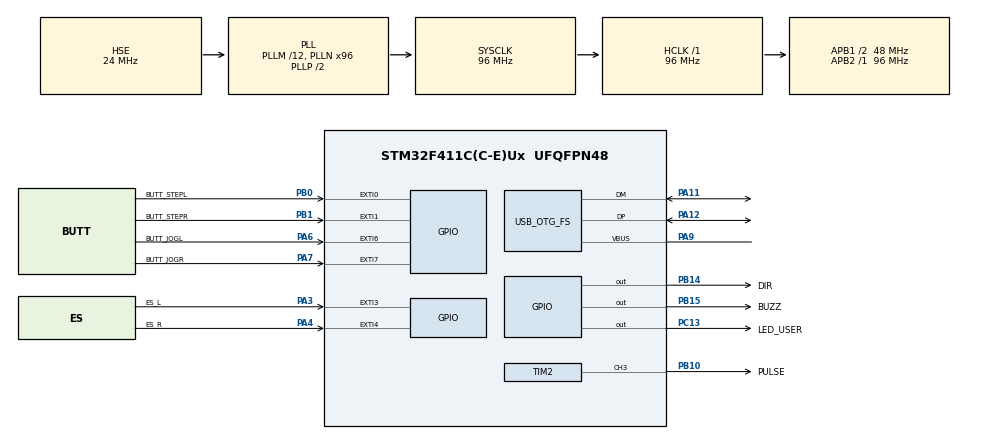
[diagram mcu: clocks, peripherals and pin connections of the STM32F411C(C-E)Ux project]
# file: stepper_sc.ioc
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Mcu.Family=STM32F4
Mcu.Name=STM32F411C(C-E)Ux
Mcu.Package=UFQFPN48
NVIC.OTG_FS_IRQn=true\:0\:0\:false\:false\:true\:false\:true\:true
NVIC.PriorityGroup=NVIC_PRIORITYGROUP_4
NVIC.TIM2_IRQn=true\:1\:0\:true\:false\:true\:true\:true\:true
PA11.Mode=Device_Only
PA11.Signal=USB_OTG_FS_DM
PA12.Mode=Device_Only
PA12.Signal=USB_OTG_FS_DP
PA13.Mode=Serial_Wire
PA13.Signal=SYS_JTMS-SWDIO
PA14.Mode=Serial_Wire
PA14.Signal=SYS_JTCK-SWCLK
PA3.GPIO_Label=ES_L
PA3.Signal=GPXTI3
PA4.GPIO_Label=ES_R
PA4.Signal=GPXTI4
PA6.GPIO_Label=BUTT_JOGL
PA6.Signal=GPXTI6
PA7.GPIO_Label=BUTT_JOGR
PA7.Signal=GPXTI7
PA9.Mode=Activate_VBUS
PA9.Signal=USB_OTG_FS_VBUS
PB0.GPIO_Label=BUTT_STEPL
PB0.Signal=GPXTI0
PB1.GPIO_Label=BUTT_STEPR
PB1.Signal=GPXTI1
PB10.GPIO_Label=PULSE
PB10.Signal=S_TIM2_CH3
PB14.GPIO_Label=DIR
PB14.Signal=GPIO_Output
PB15.GPIO_Label=BUZZ
PB15.Signal=GPIO_Output
PC13-ANTI_TAMP.GPIO_Label=LED_USER
PC13-ANTI_TAMP.Signal=GPIO_Output
PC14-OSC32_IN.Mode=LSE-External-Oscillator
PC14-OSC32_IN.Signal=RCC_OSC32_IN
PC15-OSC32_OUT.Mode=LSE-External-Oscillator
PC15-OSC32_OUT.Signal=RCC_OSC32_OUT
PH0\ -\ OSC_IN.Mode=HSE-External-Oscillator
PH0\ -\ OSC_IN.Signal=RCC_OSC_IN
PH1\ -\ OSC_OUT.Mode=HSE-External-Oscillator
PH1\ -\ OSC_OUT.Signal=RCC_OSC_OUT
ProjectManager.HeapSize=0x200
ProjectManager.StackSize=0x400
ProjectManager.TargetToolchain=Makefile
RCC.48MHZClocksFreq_Value=48000000
RCC.AHBFreq_Value=96000000
RCC.APB1CLKDivider=RCC_HCLK_DIV2
RCC.APB1Freq_Value=48000000
RCC.APB1TimFreq_Value=96000000
RCC.APB2Freq_Value=96000000
RCC.APB2TimFreq_Value=96000000
RCC.CortexFreq_Value=96000000
RCC.HCLKFreq_Value=96000000
RCC.HSE_VALUE=24000000
RCC.HSI_VALUE=16000000
RCC.PLLM=12
RCC.PLLN=96
RCC.SYSCLKFreq_VALUE=96000000
RCC.SYSCLKSource=RCC_SYSCLKSOURCE_PLLCLK
RCC.VCOOutputFreq_Value=192000000
SH.S_TIM2_CH3.0=TIM2_CH3,PWM Generation3 CH3
TIM2.Channel-PWM\ Generation3\ CH3=TIM_CHANNEL_3
TIM2.Period=9599
TIM2.Pulse-PWM\ Generation3\ CH3=4800
USB_DEVICE.CLASS_NAME_FS=CDC
USB_DEVICE.VirtualMode=Cdc
USB_DEVICE.VirtualModeFS=Cdc_FS
USB_OTG_FS.Sof_enable=ENABLE
USB_OTG_FS.VirtualMode=Device_Only
VP_USB_DEVICE_VS_USB_DEVICE_CDC_FS.Mode=CDC_FS
board=custom

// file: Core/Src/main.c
/* USER CODE BEGIN Header */
/**
  ******************************************************************************
  * @file           : main.c
  * @brief          : Main program body
  ******************************************************************************
  * @attention
  *
  * Copyright (c) 2026 STMicroelectronics.
  * All rights reserved.
  *
  * This software is licensed under terms that can be found in the LICENSE file
  * in the root directory of this software component.
  * If no LICENSE file comes with this software, it is provided AS-IS.
  *
  ******************************************************************************
  */
/* USER CODE END Header */
#include "main.h"
#include "usb_device.h"

/* USER CODE BEGIN Includes */

#include "defines.h"
#include "stdarg.h"
#include "usb_device.h"
#include "usbd_cdc_if.h"
#include "stm32f4xx_hal.h" // Example for F4
#include "eeprom_emul_uint32_t.h"
#include "stepper.h"

/* USER CODE END Includes */

/* USER CODE BEGIN PTD */

typedef enum {
    KEY_NONE,
    KEY_SEQUENCE,
    KEY_UP,
    KEY_DOWN,
    KEY_LEFT,
    KEY_RIGHT,
    KEY_ESC,
    KEY_ENTER,
    KEY_BACKSPACE,
    KEY_CLEAR,
    KEY_F1,
    KEY_F2,
    KEY_F3,
    KEY_F4,
} KeyCode;

typedef enum {
    SEQ_IDLE,
    SEQ_ESC,
    SEQ_BRACKET,
    SEQ_O,
} SeqState;

/* USER CODE END PTD */

/* USER CODE BEGIN PD */

#define dotTime       60
#define interTime     dotTime
#define dashTime      3*dotTime
#define spaceTime     7*dotTime

void dot();
void dash();
uint8_t morse(const char *format, ... );
uint8_t CDC_TxWrite(const uint8_t *data, uint16_t len);

/* USER CODE END PD */

TIM_HandleTypeDef htim2;

/* USER CODE BEGIN PV */

//Externs
extern PCD_HandleTypeDef hpcd_USB_OTG_FS;

extern volatile int32_t  posSteps;
extern volatile uint8_t  posHomed;

volatile uint8_t diagMode = 0;
volatile uint8_t buttonsEn = 0;   /* 0 = ignore button EXTI events — starts OFF, enabled after boot OK */
volatile uint8_t endstopsEn = 1;  /* 0 = ignore endstop EXTI events */
volatile uint32_t buzzTick = 0;
volatile uint8_t  buzzActive = 0;

/* Non-blocking morse state machine */
typedef enum { MRS_IDLE, MRS_TONE, MRS_INTER, MRS_LETTER, MRS_LETTERGAP } MorseState;
static MorseState mrsState = MRS_IDLE;
static const char *mrsText = NULL;
static uint8_t mrsCharIdx = 0;
static uint8_t mrsSymIdx  = 0;
static uint32_t mrsTick   = 0;
extern USBD_HandleTypeDef hUsbDeviceFS;

//
#define RX_BUF_SIZE  512
static uint8_t UserTxBufferFS[RX_BUF_SIZE];
static volatile uint16_t txLen   = 0;
static volatile uint8_t  txBusy  = 0;

//
#define TX_BUF_SIZE  512
static uint8_t UserRxBufferFS[TX_BUF_SIZE];
static volatile uint16_t rxHead = 0;
static volatile uint16_t rxTail = 0;
//
extern uint8_t CDC_IsConnected;

// Locals

params_t motorParams;

static uint8_t  lineBuf[128];
static uint16_t lineLen = 0;

//
uint32_t semaphore = 0;    // state machine flags

// morse code letters and digits
// __attribute__((section(".rodata"))) const char* morseCode[] = {
const char* morseCode[] = {
    "-----",            // 0
    ".----",            // 1
    "..---",            // 2
    "...--",            // 3
    "....-",            // 4
    ".....",            // 5
    "-....",            // 6
    "--...",            // 7
    "---..",            // 8
    "----.",            // 9
    ".-",               // A
    "-...",             // B
    "-.-.",             // C
    "-..",              // D
    ".",                // E
    "..-.",             // F
    "--.",              // G
    "....",             // H
    "..",               // I
    ".---",             // J
    "-.-",              // K
    ".-..",             // L
    "--",               // M
    "-.",               // N
    "---",              // O
    ".--.",             // P
    "--.-",             // Q
    ".-.",              // R
    "...",              // S
    "-",                // T
    "..-",              // U
    "...-",             // V
    ".--",              // W
    "-..-",             // X
    "-.--",             // Y
    "--..",             // Z
};   //morse code from A to Z

/* USER CODE END PV */

void SystemClock_Config(void);
static void MX_GPIO_Init(void);
static void MX_TIM2_Init(void);
/* USER CODE BEGIN PFP */
void ProcessEvents(void);
void RunHome(void);
void RunCombo(void);
void PrintPrompt(void);
void MorseStart(const char *text);
void MorseUpdate(void);
uint8_t MorseIsBusy(void);
/* USER CODE END PFP */

/* USER CODE BEGIN 0 */

void PrintPrompt(void)
{
    if (posHomed) {
        float mm = (float)posSteps / (float)motorParams.spmm.u;
        printf("%8.2f > ", mm);
    } else {
        printf("XXXX.XX > ");
    }
}

//
KeyCode ParseKey(uint8_t byte)
{
    static SeqState state = SEQ_IDLE;

    switch (state)
    {
    case SEQ_IDLE:
        if      (byte == 0x1B) { state = SEQ_ESC;               return KEY_SEQUENCE; }
        else if (byte == '\r' || byte == '\n' || byte == 0x8D)  return KEY_ENTER;
        else if (byte == 0x7F || byte == 0x08 )         return KEY_BACKSPACE;
        else if (byte == 0x0C) {
            return KEY_CLEAR;  // Ctrl+L
        }
        break;

    case SEQ_ESC:
        if (byte == '[') { state = SEQ_BRACKET; return KEY_SEQUENCE; }
        else if (byte == 'O') { state = SEQ_O;       return KEY_SEQUENCE; }
        state = SEQ_IDLE;
        return KEY_SEQUENCE;  /* swallow unknown ESC+byte */

    case SEQ_O:
        state = SEQ_IDLE;
        if (byte == 'M') return KEY_ENTER;   // keypad Enter
        if (byte == 'P') return KEY_F1;      // bonus: F1-F4 also use ESC O
        if (byte == 'Q') return KEY_F2;
        if (byte == 'R') return KEY_F3;
        if (byte == 'S') return KEY_F4;
        break;

    case SEQ_BRACKET:
        /* CSI sequences: ESC [ (params) (final byte 0x40-0x7E)
           Eat intermediate/parameter bytes (0x20-0x3F) silently,
           only act on the final byte, ignore unknown finals. */
        if (byte >= 0x20 && byte <= 0x3F) return KEY_SEQUENCE;  /* param/intermediate — stay in state */
        state = SEQ_IDLE;
        if      (byte == 'A') return KEY_UP;
        else if (byte == 'B') return KEY_DOWN;
        else if (byte == 'C') return KEY_RIGHT;
        else if (byte == 'D') return KEY_LEFT;
        return KEY_SEQUENCE;  /* unknown final — swallow it */
    }

    return KEY_NONE;
}

// my memset
void volatile_memset(volatile void *s, int c, size_t n) {
    volatile unsigned char *p = (volatile unsigned char *)s;
    while (n-- > 0) {
        *p++ = (unsigned char)c;
    }
}

// parameters init - for debug purposes only
void initParams()
{
  motorParams.mmpsmax.f  = 1.0012f;    // 1 index
  motorParams.mmpsmin.f  = 1.0023f;    // 2
  motorParams.dvdtacc.f  = 1.0034f;    // 3
  motorParams.dvdtdecc.f = 1.0045f;    // 4
  motorParams.jogmm.f    = 1.0056f;    // 5
  motorParams.stepmm.f   = 1.0067f;    // 6
  motorParams.spmm.u     = 4096;       // 7
}

// debug only
void writeParams()
{
  int16_t index = 0;

  index++;
  if (EEPROM_Write(index, motorParams.mmpsmax.u) != EEPROM_OK) {
    printf("WRITE 1 FAILED\r\n");
    BKPT;
  }
  index++;
  if (EEPROM_Write(index, motorParams.mmpsmin.u) != EEPROM_OK) {
    printf("WRITE 2 FAILED\r\n");
    BKPT;
  }
  index++;
  if (EEPROM_Write(index, motorParams.dvdtacc.u) != EEPROM_OK) {
    printf("WRITE 3 FAILED\r\n");
    BKPT;
  }
  index++;
  if (EEPROM_Write(index, motorParams.dvdtdecc.u) != EEPROM_OK) {
    printf("WRITE 4 FAILED\r\n");
    BKPT;
  }
  index++;
  if (EEPROM_Write(index, motorParams.jogmm.u) != EEPROM_OK) {
    printf("WRITE 5 FAILED\r\n");
    BKPT;
  }
  index++;
  if (EEPROM_Write(index, motorParams.stepmm.u) != EEPROM_OK) {
    printf("WRITE 6 FAILED\r\n");
    BKPT;
  }
  index++;
  if (EEPROM_Write(index, motorParams.spmm.u) != EEPROM_OK) {
    printf("WRITE 7 FAILED\r\n");
    BKPT;
  }
}

//
void readParams()
{
    int16_t stat;
    uint16_t index = 0;

    index++;
    if ( (stat = EEPROM_Read(index, (uint32_t*)&motorParams.mmpsmax)) != 0) {
        printf("read %d returned 0x%x\r\n", index, stat);
    }

    index++;
    if ( (stat = EEPROM_Read(index, (uint32_t*)&motorParams.mmpsmin)) != 0) {
        printf("read %d returned 0x%x\r\n", index, stat);
    }

    index++;
    if ( (stat = EEPROM_Read(index, (uint32_t*)&motorParams.dvdtacc)) != 0) {
        printf("read %d returned 0x%x\r\n", index, stat);
    }

    index++;
    if ( (stat = EEPROM_Read(index, (uint32_t*)&motorParams.dvdtdecc)) != 0) {
        printf("read %d returned 0x%x\r\n", index, stat);
    }

    index++;
    if ( (stat = EEPROM_Read(index, (uint32_t*)&motorParams.jogmm)) != 0) {
        printf("read %d returned 0x%x\r\n", index, stat);
    }

    index++;
    if ( (stat = EEPROM_Read(index, (uint32_t*)&motorParams.stepmm)) != 0) {
        printf("read %d returned 0x%x\r\n", index, stat);
    }

    index++;
    if ( (stat = EEPROM_Read(index, (uint32_t*)&motorParams.spmm)) != 0) {
        printf("read %d returned 0x%x\r\n", index, stat);
    }
}

//
void dumpVars()
{
    // readVariables();
    // printf("----------%08d-----\r\n", debugonly++);
    printf("Dump of NVARS in EEPROM\r\n");
    printf("-----------------------\r\n");
    printf("mmpsmax........: %7.3f\r\n", motorParams.mmpsmax.f );
    printf("mmpsmin........: %7.3f\r\n", motorParams.mmpsmin.f );
    printf("dvdtacc........: %7.3f\r\n", motorParams.dvdtacc.f );
    printf("dvdtdecc.......: %7.3f\r\n", motorParams.dvdtdecc.f );
    printf("jogmm..........: %7.3f\r\n", motorParams.jogmm.f );
    printf("stepmm.........: %7.3f\r\n", motorParams.stepmm.f );
    printf("spmm...........: %7ld\r\n",  motorParams.spmm.u );
    printf("-----------------------\r\n");
    printf("semaphore....:  %ld\r\n", semaphore);
    printf("SEM_EL.......:  %d\r\n", SEM_EL);
    printf("SEM_ER.......:  %d\r\n", SEM_ER);
    printf("SEM_JOGL.....:  %d\r\n", SEM_JOGL);
    printf("SEM_JOGR.....:  %d\r\n", SEM_JOGR);
    printf("SEM_JOGSTEPL.:  %d\r\n", SEM_JOGSTEPL);
    printf("SEM_JOGSTEPR.:  %d\r\n", SEM_JOGSTEPR);
    printf("-----------------------\r\n");
    printf("DB_JOGL......:  %d\r\n", DB_JOGL);
    printf("DB_JOGR......:  %d\r\n", DB_JOGR);
    printf("DB_STEPL.....:  %d\r\n", DB_STEPL);
    printf("DB_STEPR.....:  %d\r\n", DB_STEPR);
    printf("DB_EL........:  %d\r\n", DB_EL);
    printf("DB_ER........:  %d\r\n", DB_ER);
    printf("DB_EE........:  %d\r\n", DB_EE);
    printf("-----------------------\r\n");
}

// morse dot function
void dot()
{
    HAL_GPIO_WritePin(LED_USER_GPIO_Port, LED_USER_Pin, GPIO_PIN_RESET);
    HAL_GPIO_WritePin(BUZZ_GPIO_Port, BUZZ_Pin, GPIO_PIN_RESET);

    HAL_Delay(dotTime);

    HAL_GPIO_WritePin(LED_USER_GPIO_Port, LED_USER_Pin, GPIO_PIN_SET);
    HAL_GPIO_WritePin(BUZZ_GPIO_Port, BUZZ_Pin, GPIO_PIN_SET);

    HAL_Delay(interTime);
}

// morse dash function
void dash()
{
    HAL_GPIO_WritePin(LED_USER_GPIO_Port, LED_USER_Pin, GPIO_PIN_RESET);
    HAL_GPIO_WritePin(BUZZ_GPIO_Port, BUZZ_Pin, GPIO_PIN_RESET);

    HAL_Delay(dashTime);

    HAL_GPIO_WritePin(BUZZ_GPIO_Port, BUZZ_Pin, GPIO_PIN_SET);
    HAL_GPIO_WritePin(LED_USER_GPIO_Port, LED_USER_Pin, GPIO_PIN_SET);

    HAL_Delay(interTime);
}

/* Non-blocking morse — call MorseStart() once, MorseUpdate() from main loop */
void MorseStart(const char *text)
{
    mrsText = text;
    mrsCharIdx = 0;
    mrsSymIdx  = 0;
    mrsState   = MRS_LETTER;  /* will pick first char on next update */
    mrsTick    = HAL_GetTick();
}

uint8_t MorseIsBusy(void) { return mrsState != MRS_IDLE; }

void MorseUpdate(void)
{
    if (mrsState == MRS_IDLE) return;
    uint32_t now = HAL_GetTick();
    uint32_t elapsed = now - mrsTick;

    switch (mrsState)
    {
    case MRS_LETTER: {
        /* Pick next character */
        char ch = mrsText[mrsCharIdx];
        if (ch == '\0') {
            /* Done */
            HAL_GPIO_WritePin(BUZZ_GPIO_Port, BUZZ_Pin, GPIO_PIN_SET);
            HAL_GPIO_WritePin(LED_USER_GPIO_Port, LED_USER_Pin, GPIO_PIN_SET);
            mrsState = MRS_IDLE;
            return;
        }
        mrsSymIdx = 0;
        /* Get morse pattern for this character */
        const char *pattern = NULL;
        if (ch >= 'A' && ch <= 'Z')      pattern = morseCode[ch - 'A' + 10];
        else if (ch >= 'a' && ch <= 'z')  pattern = morseCode[ch - 'a' + 10];
        else if (ch >= '0' && ch <= '9')  pattern = morseCode[ch - '0'];
        if (!pattern || pattern[0] == '\0') {
            /* Unknown char or space — just pause */
            mrsTick = now;
            mrsCharIdx++;
            return;
        }
        /* Start first tone */
        HAL_GPIO_WritePin(BUZZ_GPIO_Port, BUZZ_Pin, GPIO_PIN_RESET);
        HAL_GPIO_WritePin(LED_USER_GPIO_Port, LED_USER_Pin, GPIO_PIN_RESET);
        mrsTick = now;
        mrsState = MRS_TONE;
        break;
    }
    case MRS_TONE: {
        /* Currently sounding — wait for dot or dash duration */
        const char *pattern = NULL;
        char ch = mrsText[mrsCharIdx];
        if (ch >= 'A' && ch <= 'Z')      pattern = morseCode[ch - 'A' + 10];
        else if (ch >= 'a' && ch <= 'z')  pattern = morseCode[ch - 'a' + 10];
        else if (ch >= '0' && ch <= '9')  pattern = morseCode[ch - '0'];
        uint32_t dur = (pattern[mrsSymIdx] == '-') ? dashTime : dotTime;
        if (elapsed >= dur) {
            /* Tone done — silence */
            HAL_GPIO_WritePin(BUZZ_GPIO_Port, BUZZ_Pin, GPIO_PIN_SET);
            HAL_GPIO_WritePin(LED_USER_GPIO_Port, LED_USER_Pin, GPIO_PIN_SET);
            mrsSymIdx++;
            mrsTick = now;
            if (pattern[mrsSymIdx] == '\0') {
                /* Letter done — inter-letter gap (3 dot times) */
                mrsCharIdx++;
                mrsTick = now;
                mrsState = MRS_LETTERGAP;
            } else {
                mrsState = MRS_INTER;
            }
        }
        break;
    }
    case MRS_INTER:
        /* Inter-symbol gap */
        if (elapsed >= interTime) {
            /* Start next tone */
            HAL_GPIO_WritePin(BUZZ_GPIO_Port, BUZZ_Pin, GPIO_PIN_RESET);
            HAL_GPIO_WritePin(LED_USER_GPIO_Port, LED_USER_Pin, GPIO_PIN_RESET);
            mrsTick = now;
            mrsState = MRS_TONE;
        }
        break;
    case MRS_LETTERGAP: {
        /* Inter-letter gap: 3 dot times; word gap (space): 7 dot times */
        uint32_t gap = 3 * dotTime;
        if (mrsText[mrsCharIdx] == ' ') gap = 7 * dotTime;
        if (elapsed >= gap) {
            if (mrsText[mrsCharIdx] == ' ') mrsCharIdx++;  /* skip the space */
            mrsState = MRS_LETTER;
        }
        break;
    }
    case MRS_IDLE:
    default:
        break;
    }
}

int _write(int file, char *ptr, int len)
{
    UNUSED(file);

    USBD_CDC_HandleTypeDef *hcdc =
        (USBD_CDC_HandleTypeDef *)hUsbDeviceFS.pClassData;

    /* wait until TX is free */
    uint32_t timeout = HAL_GetTick();
    while (hcdc->TxState != 0)
    {
        if (HAL_GetTick() - timeout > 100)  /* 100ms timeout — avoid infinite hang */
            return 0;
    }

    CDC_Transmit_FS((uint8_t *)ptr, len);

    /* wait for this transmission to complete before returning */
    timeout = HAL_GetTick();
    while (hcdc->TxState != 0)
    {
        if (HAL_GetTick() - timeout > 100)
            return 0;
    }

    return len;
}

// Morse code transmitter
uint8_t morse(const char *format, ... )
{
    uint8_t result = 0;

    unsigned char lettInMorse[8];

    uint8_t cnt2 = 0;

    uint8_t symbol;
    // uint8_t tmpsymbol;           //needed for CW printout in console

    while ( (symbol = format[cnt2]) > 0)
    {
        // end of string
        if ( symbol == 0x00 ) {
            break;
        }

        // check for alhpa
        if ( ( symbol > 90 ) | ( symbol < 65 ) ) {
          // check for digits
          if ( ( symbol > 57 ) | ( symbol < 48 ) ) {
            if ( symbol != 32 ) {
              BKPT;
              break;
            }
          }
        }

        // convert to pseudoascii
        if ( ( symbol <= 57 ) & ( symbol >= 48 ) ) {
          symbol -= 48;
        }

        // convert to pseudoascii
        if ( ( symbol <= 90 ) & ( symbol >= 65 ) ) {
          symbol -= 55;
        }
        // space handling
        if (symbol == 32) {
            HAL_Delay(spaceTime);
            cnt2++;
            continue;
        }

        uint8_t index = 0;        //indexLett in letter

        while (1) {
            lettInMorse[index] = morseCode[symbol][index];
            if (lettInMorse[index] == 0) {        // end of string
                break;
            }
            if (lettInMorse[index] == '.') {      //dot
                dot();
            }
            if (lettInMorse[index] == '-') {      //dash
                dash();
            }
            index++;
        }
        HAL_Delay(spaceTime);
        cnt2++;
    }
    return result;
}

//
void My_PCD_SuspendCallback(PCD_HandleTypeDef *hpcd)
{
    UNUSED(hpcd);
    BKPT;
}

// USB Physical connection
void My_PCD_ConnectCallback(PCD_HandleTypeDef *hpcd)
{
    UNUSED(hpcd);
}

// USB Physical disconnection
void My_PCD_DisconnectCallback(PCD_HandleTypeDef *hpcd)
{
    UNUSED(hpcd);
    CDC_IsConnected = 0;
}

// Many nops
void delay() {
        __NOP();
        __NOP();
        __NOP();
        __NOP();
        __NOP();
        __NOP();
        __NOP();
        __NOP();
        __NOP();
        __NOP();
        __NOP();
        __NOP();
        __NOP();
        __NOP();
        __NOP();
        __NOP();
        __NOP();
        __NOP();
        __NOP();
        __NOP();
        __NOP();
        __NOP();
        __NOP();
        __NOP();
        __NOP();
        __NOP();
        __NOP();
        __NOP();
        __NOP();
        __NOP();
        __NOP();
        __NOP();
        __NOP();
        __NOP();
}

// Start Of Frame Handling.
void My_PCD_SOF(PCD_HandleTypeDef *hpcd)
{
    UNUSED(hpcd);
    //fixme. find out why there are two sof needles
    // HAL_GPIO_WritePin(LED_USER_GPIO_Port, LED_USER_Pin, GPIO_PIN_RESET);
    // delay();
    // HAL_GPIO_WritePin(LED_USER_GPIO_Port, LED_USER_Pin, GPIO_PIN_SET);
}

//
static void TxStart(void)
{
    if (txBusy || txLen == 0) return;
    txBusy = 1;
    /* txLen intentionally NOT cleared here — buffer must stay valid */
    uint8_t result = CDC_Transmit_FS(UserTxBufferFS, txLen);
    if (result == USBD_OK)
    {
        txBusy = 1;
        txLen  = 0;
    }
}

//
void MyCDC_Receive_FS(uint8_t *Buf, uint32_t *Len)
{
    for (uint32_t i = 0; i < *Len; i++)
    {
        uint16_t next = (rxHead + 1) % RX_BUF_SIZE;
        if (next != rxTail)
        {
            UserRxBufferFS[rxHead] = Buf[i];
            rxHead = next;
        }
    }
}

/* Read one byte from RX buffer. Call CDC_RxAvailable() first. */
uint8_t CDC_RxAvailable(void)
{
    return rxHead != rxTail;
}

uint8_t CDC_RxRead(void)
{
    uint8_t byte = UserRxBufferFS[rxTail];
    rxTail = (rxTail + 1) % APP_RX_DATA_SIZE;
    return byte;
}

/* Queue bytes for async TX. Returns 0 if TX buffer full. */
uint8_t CDC_TxWrite(const uint8_t *data, uint16_t len)
{
    if (txBusy || (txLen + len) > APP_TX_DATA_SIZE)
        return 0; /* busy or won't fit */

    memcpy(&UserTxBufferFS[txLen], data, len);
    txLen += len;
    TxStart();
    return 1;
}

// DataOut is from HOST to DEVICE
static void MyPCD_DataOutStageCallback(PCD_HandleTypeDef *hpcd, uint8_t epnum)
{
    USBD_LL_DataOutStage((USBD_HandleTypeDef *)hpcd->pData, epnum,
                         hpcd->OUT_ep[epnum].xfer_buff);
}

// DataIn is from DEVICE to HOST
void MyPCD_DataInStageCallback(PCD_HandleTypeDef *hpcd, uint8_t epnum)
{
    USBD_LL_DataInStage((USBD_HandleTypeDef *)hpcd->pData, epnum,
                        hpcd->IN_ep[epnum].xfer_buff);

    if (epnum == 0x01)
    {
        txLen  = 0;   // ← clear here, AFTER hardware is done with the buffer
        txBusy = 0;
        TxStart();    // send next chunk if queued in the meantime
    }
}

// Debug some USB options
void debugStruc()
{
    USB_CfgTypeDef *usb = &hpcd_USB_OTG_FS.Init;
    printf("#########################################\r\n");
    printf("sizeof float is %d bytes\r\n", sizeof(float));
    printf("-----------------------------------------\r\n");
    printf("hpcd_USB_OTG_FS.Init.dev_endpoints:%d\r\n", usb->dev_endpoints);
    printf("hpcd_USB_OTG_FS.Init.Host_channels:%d\r\n", usb->Host_channels);
    printf("hpcd_USB_OTG_FS.Init.dma_enable:%d\r\n", usb->dma_enable);
    printf("hpcd_USB_OTG_FS.Init.speed:%d\r\n", usb->speed);
    printf("hpcd_USB_OTG_FS.Init.ep0_mps:%d\r\n", usb->ep0_mps);
    printf("hpcd_USB_OTG_FS.Init.phy_itface:%d\r\n", usb->phy_itface);
    printf("hpcd_USB_OTG_FS.Init.Sof_enable:%d\r\n", usb->Sof_enable);
    printf("hpcd_USB_OTG_FS.Init.low_power_enable:%d\r\n", usb->low_power_enable);
    printf("hpcd_USB_OTG_FS.Init.lpm_enable:%d\r\n", usb->lpm_enable);
    printf("hpcd_USB_OTG_FS.Init.battery_charging_enable:%d\r\n", usb->battery_charging_enable);
    printf("hpcd_USB_OTG_FS.Init.vbus_sensing_enable:%d\r\n", usb->vbus_sensing_enable);
    printf("hpcd_USB_OTG_FS.Init.use_dedicated_ep1:%d\r\n", usb->use_dedicated_ep1);
    printf("hpcd_USB_OTG_FS.Init.use_external_vbus:%d\r\n", usb->use_external_vbus);
}

void ProcessLine(void)
{
    char  cmd[16];
    char  param[16];
    float fval;
    int   ival;

    if (sscanf((char *)lineBuf, "set %s %f", param, &fval) == 2)
    {
        Stepper_SetParam(param, fval);
    }
    else if (sscanf((char *)lineBuf, "move %f", &fval) == 1)
    {
        Stepper_Move(fval);
    }
    else if (sscanf((char *)lineBuf, "movel %f", &fval) == 1)
    {
        Stepper_Move(-fval);
    }
    else if (sscanf((char *)lineBuf, "mover %f", &fval) == 1)
    {
        Stepper_Move(fval);
    }
    else if (sscanf((char *)lineBuf, "steps %d", &ival) == 1)
    {
        Stepper_MoveSteps(ival);
    }
    else if (sscanf((char *)lineBuf, "%s", cmd) == 1)
    {
        if      (strcmp(cmd, "stop")   == 0) Stepper_Stop();
        else if (strcmp(cmd, "params") == 0) Stepper_DumpParams();
        else if (strcmp(cmd, "save")   == 0) Stepper_SaveParams();
        else if (strcmp(cmd, "dump")   == 0) dumpVars();
        else if (strcmp(cmd, "cls")    == 0) { printf("\033[2J\033[H"); PrintPrompt(); }
        else if (strcmp(cmd, "uptime") == 0) printf("uptime: %lu ms\r\n", HAL_GetTick());
        else if (strcmp(cmd, "reset")  == 0) { printf("\033[2J\033[H"); HAL_Delay(50); NVIC_SystemReset(); }
        else if (strcmp(cmd, "diag_inputs") == 0 || strcmp(cmd, "di") == 0) {
            diagMode = !diagMode;
            printf("diag_inputs %s\r\n", diagMode ? "ON" : "OFF");
        }
        else if (strcmp(cmd, "combo")  == 0) RunCombo();
        else if (strcmp(cmd, "home")   == 0) RunHome();
        else if (strncmp((char *)lineBuf, "morse ", 6) == 0) {
            static char morseBuf[64];
            strncpy(morseBuf, (char *)lineBuf + 6, sizeof(morseBuf) - 1);
            morseBuf[sizeof(morseBuf) - 1] = '\0';
            MorseStart(morseBuf);
            printf("morse: %s\r\n", morseBuf);
        }
        else if (strcmp((char *)lineBuf, "buttons on")  == 0) { buttonsEn = 1; printf("buttons ON\r\n"); }
        else if (strcmp((char *)lineBuf, "buttons off") == 0) { buttonsEn = 0; printf("buttons OFF\r\n"); }
        else if (strcmp((char *)lineBuf, "endstops on")  == 0) { endstopsEn = 1; printf("endstops ON\r\n"); }
        else if (strcmp((char *)lineBuf, "endstops off") == 0) { endstopsEn = 0; printf("endstops OFF\r\n"); }
        else if (strcmp(cmd, "diag_outputs") == 0 || strcmp(cmd, "do") == 0) {
            printf("password: ");
        }
        else if (strcmp(cmd, "motorola") == 0) {
            printf("diag_outputs: 16000 steps R/L @ 1kHz (reset to stop)\r\n");
            TIM_OC_InitTypeDef sConfig = {0};
            sConfig.OCMode     = TIM_OCMODE_PWM1;
            sConfig.OCPolarity = TIM_OCPOLARITY_HIGH;
            sConfig.OCFastMode = TIM_OCFAST_DISABLE;
            sConfig.Pulse      = 48000;
            HAL_TIM_PWM_ConfigChannel(&htim2, &sConfig, TIM_CHANNEL_3);
            __HAL_TIM_SET_AUTORELOAD(&htim2, 96000 - 1);  /* 1kHz */
            __HAL_TIM_SET_COUNTER(&htim2, 0);
            while (1) {
                HAL_GPIO_WritePin(DIR_GPIO_Port, DIR_Pin, GPIO_PIN_SET);
                HAL_Delay(1);
                HAL_TIM_PWM_Start(&htim2, TIM_CHANNEL_3);
                HAL_Delay(16000);  /* 16000 pulses @ 1kHz = 16s */
                HAL_TIM_PWM_Stop(&htim2, TIM_CHANNEL_3);
                HAL_Delay(500);

                HAL_GPIO_WritePin(DIR_GPIO_Port, DIR_Pin, GPIO_PIN_RESET);
                HAL_Delay(1);
                HAL_TIM_PWM_Start(&htim2, TIM_CHANNEL_3);
                HAL_Delay(16000);
                HAL_TIM_PWM_Stop(&htim2, TIM_CHANNEL_3);
                HAL_Delay(500);
            }
        }
        else if (strcmp(cmd, "help")   == 0)
            printf("commands:\r\n"
                      "  move <mm>          move by mm\r\n"
                      "  movel <mm>         move left by mm\r\n"
                      "  mover <mm>         move right by mm\r\n"
                      "  steps <n>          move by steps\r\n"
                      "  set mmpsmax  <f>   max velocity mm/s\r\n"
                      "  set mmpsmin  <f>   min velocity mm/s\r\n"
                      "  set dvdtacc  <f>   accel mm/s2\r\n"
                      "  set dvdtdecc <f>   decel mm/s2\r\n"
                      "  set jogmm    <f>   jog distance mm\r\n"
                      "  set stepmm   <f>   step distance mm\r\n"
                      "  set spmm     <n>   steps per mm\r\n"
                      "  params, save, dump, stop, combo, cls, uptime, reset\r\n"
                      "  diag_inputs (di)   toggle button/endstop diag mode\r\n"
                      "  diag_outputs (do)  PULSE+DIR test loop (reset to stop)\r\n"
                      "buttons:\r\n"
                      "  JOGL/R short       Jog(jogmm) with ramps\r\n"
                      "  JOGL/R hold>300ms  RunContinuous(mmpsmax) until release/endstop\r\n"
                      "  STEPL/R            Move(stepmm) with ramps\r\n"
                      "  ES_L/R             emergency stop (immediate decel)\r\n");
        else
            printf(" unknown: %s\r\n", cmd);
    }
}

void ProcessLineOld(void)
{
    char cmd[16];
    float f1, f2;
    int   i1;
    // int  arg1, arg2;

    if (sscanf((char *)lineBuf, "%s %f %f", cmd, &f1, &f2) == 3)
    {
        printf(" cmd: %s, f1: %.3f, f2: %.3f\r\n", cmd, f1, f2);
    }
    else if (sscanf((char *)lineBuf, "%s %f", cmd, &f1) == 2)
    {
        printf(" cmd: %s, f1: %.3f\r\n", cmd, f1);
    }
    else if (sscanf((char *)lineBuf, "%s %d", cmd, &i1) == 2)
    {
        printf(" cmd: %s, i1: %d\r\n", cmd, i1);
    }
    else if (sscanf((char *)lineBuf, "%s", cmd) == 1)
    {
        if      (strcmp(cmd, "help")   == 0) printf("commands: help, cls, reset\r\n");
        else if (strcmp(cmd, "cls")    == 0) { printf("\033[2J\033[H"); PrintPrompt(); }
        else if (strcmp(cmd, "reset")  == 0) { printf("\033[2J\033[H"); HAL_Delay(50); NVIC_SystemReset(); }
        else if (strcmp(cmd, "uptime") == 0) printf("uptime: %lu ms\r\n", HAL_GetTick());
        else                                 printf("unknown command: %s\r\n", cmd);
    }
    else
    {
        printf("unknown command\r\n");
    }
}

/* USER CODE END 0 */

int main(void)
{

  /* USER CODE BEGIN 1 */

  // fire up buzzer for diagnostics. before main we are silencing it
  HAL_GPIO_WritePin(BUZZ_GPIO_Port, BUZZ_Pin, GPIO_PIN_RESET);

  /* USER CODE END 1 */

  /* MCU Configuration--------------------------------------------------------*/

  /* Reset of all peripherals, Initializes the Flash interface and the Systick. */
  HAL_Init();

  /* Configure the system clock */
  SystemClock_Config();

  /* Initialize all configured peripherals */
  MX_GPIO_Init();
  MX_USB_DEVICE_Init();
  MX_TIM2_Init();
  /* USER CODE BEGIN 2 */

  setvbuf(stdout, NULL, _IONBF, 0);  /* disable buffering entirely */

  HAL_PCD_RegisterCallback(&hpcd_USB_OTG_FS, HAL_PCD_CONNECT_CB_ID,  My_PCD_ConnectCallback);
  HAL_PCD_RegisterCallback(&hpcd_USB_OTG_FS, HAL_PCD_DISCONNECT_CB_ID,  My_PCD_DisconnectCallback);
  HAL_PCD_RegisterCallback(&hpcd_USB_OTG_FS, HAL_PCD_SOF_CB_ID,  My_PCD_SOF);

  // FROM HOST TO DEVICE
  HAL_PCD_RegisterDataOutStageCallback(&hpcd_USB_OTG_FS, MyPCD_DataOutStageCallback);
  // FROM DEVICE TO HOST
  HAL_PCD_RegisterDataInStageCallback(&hpcd_USB_OTG_FS, MyPCD_DataInStageCallback);

  /* USER CODE END 2 */

  /* Infinite loop */
  /* USER CODE BEGIN WHILE */

  // silence buzzer
  HAL_GPIO_WritePin(BUZZ_GPIO_Port, BUZZ_Pin, GPIO_PIN_SET);

  if ( EEPROM_Init() != EEPROM_OK ) {
      BKPT;
  }

  // USB enumeration
  HAL_Delay(1200);

  /* clear RX ring buffer and line buffer */
  rxHead  = 0;
  rxTail  = 0;
  lineLen = 0;
  lineBuf[0] = '\0';

  Stepper_LoadParams();
  Stepper_Init(&htim2);

  morse("V");

  printf("\033[2J\033[H");  /* clear screen */
  printf("\r\n===============================================\r\n");
  printf("  stepper_sc  %s  %s\r\n", GIT_HASH, BUILD_DATE);
  printf("  STM32F411CEU6 @ 96 MHz\r\n");
  printf("  type 'help' for commands\r\n");
  printf("===============================================\r\n");

  Stepper_DumpParams();

  morse("G");

  PrintPrompt();

  /* Flush any bytes minicom sent during boot (init strings, ESC queries) */
  rxHead = 0;
  rxTail = 0;
  lineLen = 0;
  lineBuf[0] = '\0';

  MorseStart("Z");

  while (1)
  {
    /* USER CODE END WHILE */

    /* USER CODE BEGIN 3 */

    /* Heartbeat LED — toggle every 500ms */
    {
        static uint32_t ledTick = 0;
        uint32_t now = HAL_GetTick();
        if (now - ledTick >= 500) {
            ledTick = now;
            HAL_GPIO_TogglePin(LED_USER_GPIO_Port, LED_USER_Pin);
        }
    }

    /* Non-blocking morse */
    MorseUpdate();

    /* Boot sequence: Z → 3s delay → check inputs → OK → enable buttons
       If any button/endstop is stuck LOW at boot, play CQ CQ CQ DE LZ1CCM
       in a loop until all inputs are released. */
    {
        static uint8_t bootPhase = 0;  /* 0=wait Z, 1=delay, 2=check, 3=wait CQ, 4=pause, 5=play OK, 6=done */
        static uint32_t bootTick = 0;
        switch (bootPhase) {
        case 0: /* wait for Z to finish */
            if (!MorseIsBusy()) { bootTick = HAL_GetTick(); bootPhase = 1; }
            break;
        case 1: /* 3s delay */
            if (HAL_GetTick() - bootTick >= 3000) bootPhase = 2;
            break;
        case 2: { /* check all inputs — active LOW = stuck */
            uint8_t stuck = 0;
            if (!HAL_GPIO_ReadPin(ES_L_GPIO_Port, ES_L_Pin))         { stuck = 1; printf("STUCK: ES_L\r\n"); }
            if (!HAL_GPIO_ReadPin(ES_R_GPIO_Port, ES_R_Pin))         { stuck = 1; printf("STUCK: ES_R\r\n"); }
            if (!HAL_GPIO_ReadPin(BUTT_JOGL_GPIO_Port, BUTT_JOGL_Pin)) { stuck = 1; printf("STUCK: JOGL\r\n"); }
            if (!HAL_GPIO_ReadPin(BUTT_JOGR_GPIO_Port, BUTT_JOGR_Pin)) { stuck = 1; printf("STUCK: JOGR\r\n"); }
            if (!HAL_GPIO_ReadPin(BUTT_STEPL_GPIO_Port, BUTT_STEPL_Pin)) { stuck = 1; printf("STUCK: STEPL\r\n"); }
            if (!HAL_GPIO_ReadPin(BUTT_STEPR_GPIO_Port, BUTT_STEPR_Pin)) { stuck = 1; printf("STUCK: STEPR\r\n"); }
            if (stuck) {
                MorseStart("CQ CQ CQ DE LZ1CCM");
                bootPhase = 3;
            } else {
                MorseStart("OK");
                bootPhase = 5;
            }
            break;
        }
        case 3: /* wait CQ to finish */
            if (!MorseIsBusy()) { bootTick = HAL_GetTick(); bootPhase = 4; }
            break;
        case 4: /* pause 2s then re-check */
            if (HAL_GetTick() - bootTick >= 2000) bootPhase = 2;
            break;
        case 5: /* wait OK to finish */
            if (!MorseIsBusy()) { buttonsEn = 1; printf("\r\nbuttons enabled\r\n"); PrintPrompt(); bootPhase = 6; }
            break;
        default: break;
        }
    }

    /* Buzzer off after 50ms */
    if (buzzActive && (HAL_GetTick() - buzzTick >= 50)) {
        HAL_GPIO_WritePin(BUZZ_GPIO_Port, BUZZ_Pin, GPIO_PIN_SET);
        buzzActive = 0;
    }

    /* Process button/endstop events from ISR */
    ProcessEvents();

    /* Drain RX buffer */
    while (CDC_RxAvailable())
    {
        uint8_t b = CDC_RxRead();

        KeyCode key = ParseKey(b);

        switch (key)
        {
        case KEY_UP:
            /* handle up    */
            printf("KEY_UP pressed.\r\n");
            break;
        case KEY_DOWN:
            /* handle down  */
            printf("KEY_DOWN pressed.\r\n");
            break;
        case KEY_LEFT:
            /* handle left  */
            printf("KEY_LEFT pressed.\r\n");
            break;
        case KEY_RIGHT:
            /* handle right */
            printf("KEY_RIGHT pressed.\r\n");
            break;
        case KEY_ENTER:
            printf("\r\n");
            if (lineLen > 0)
            {
                lineBuf[lineLen] = '\0';
                ProcessLine();
                lineLen = 0;
            }
            PrintPrompt();
            break;
        case KEY_BACKSPACE:
            if (lineLen > 0)
            {
                lineLen--;
                printf("\b \b");
            }
            break;
        case KEY_CLEAR:
            printf("\033[2J\033[H> %.*s", lineLen, lineBuf);
            break;
        case KEY_NONE:
            /* KEY_SEQUENCE is ignored, only true printable bytes reach here */
            if (b >= 0x20 && b < 0x7F && lineLen < sizeof(lineBuf) - 1)
            {
                lineBuf[lineLen++] = b;
                printf("%c", b);
            }
            break;
        case KEY_F1:  printf("F1\r\n");  break;
        case KEY_F2:  printf("F2\r\n");  break;
        case KEY_F3:  printf("F3\r\n");  break;
        case KEY_F4:  printf("F4\r\n");  break;

        default: break;
        }
    }

    // morse("C");
    // debugStruc();
    // dumpVars();
  }
  /* USER CODE END 3 */
}

void SystemClock_Config(void)
{
  RCC_OscInitTypeDef RCC_OscInitStruct = {0};
  RCC_ClkInitTypeDef RCC_ClkInitStruct = {0};

  /** Configure the main internal regulator output voltage
  */
  __HAL_RCC_PWR_CLK_ENABLE();
  __HAL_PWR_VOLTAGESCALING_CONFIG(PWR_REGULATOR_VOLTAGE_SCALE1);

  /** Initializes the RCC Oscillators according to the specified parameters
  * in the RCC_OscInitTypeDef structure.
  */
  RCC_OscInitStruct.OscillatorType = RCC_OSCILLATORTYPE_HSE;
  RCC_OscInitStruct.HSEState = RCC_HSE_ON;
  RCC_OscInitStruct.PLL.PLLState = RCC_PLL_ON;
  RCC_OscInitStruct.PLL.PLLSource = RCC_PLLSOURCE_HSE;
  RCC_OscInitStruct.PLL.PLLM = 12;
  RCC_OscInitStruct.PLL.PLLN = 96;
  RCC_OscInitStruct.PLL.PLLP = RCC_PLLP_DIV2;
  RCC_OscInitStruct.PLL.PLLQ = 4;
  if (HAL_RCC_OscConfig(&RCC_OscInitStruct) != HAL_OK)
  {
    Error_Handler();
  }

  /** Initializes the CPU, AHB and APB buses clocks
  */
  RCC_ClkInitStruct.ClockType = RCC_CLOCKTYPE_HCLK|RCC_CLOCKTYPE_SYSCLK
                              |RCC_CLOCKTYPE_PCLK1|RCC_CLOCKTYPE_PCLK2;
  RCC_ClkInitStruct.SYSCLKSource = RCC_SYSCLKSOURCE_PLLCLK;
  RCC_ClkInitStruct.AHBCLKDivider = RCC_SYSCLK_DIV1;
  RCC_ClkInitStruct.APB1CLKDivider = RCC_HCLK_DIV2;
  RCC_ClkInitStruct.APB2CLKDivider = RCC_HCLK_DIV1;

  if (HAL_RCC_ClockConfig(&RCC_ClkInitStruct, FLASH_LATENCY_3) != HAL_OK)
  {
    Error_Handler();
  }
}

static void MX_TIM2_Init(void)
{

  TIM_MasterConfigTypeDef sMasterConfig = {0};
  TIM_OC_InitTypeDef sConfigOC = {0};

  htim2.Instance = TIM2;
  htim2.Init.Prescaler = 0;
  htim2.Init.CounterMode = TIM_COUNTERMODE_UP;
  htim2.Init.Period = 9599;
  htim2.Init.ClockDivision = TIM_CLOCKDIVISION_DIV1;
  htim2.Init.AutoReloadPreload = TIM_AUTORELOAD_PRELOAD_DISABLE;
  if (HAL_TIM_PWM_Init(&htim2) != HAL_OK)
  {
    Error_Handler();
  }
  sMasterConfig.MasterOutputTrigger = TIM_TRGO_RESET;
  sMasterConfig.MasterSlaveMode = TIM_MASTERSLAVEMODE_DISABLE;
  if (HAL_TIMEx_MasterConfigSynchronization(&htim2, &sMasterConfig) != HAL_OK)
  {
    Error_Handler();
  }
  sConfigOC.OCMode = TIM_OCMODE_PWM1;
  sConfigOC.Pulse = 4800;
  sConfigOC.OCPolarity = TIM_OCPOLARITY_HIGH;
  sConfigOC.OCFastMode = TIM_OCFAST_DISABLE;
  if (HAL_TIM_PWM_ConfigChannel(&htim2, &sConfigOC, TIM_CHANNEL_3) != HAL_OK)
  {
    Error_Handler();
  }
  HAL_TIM_MspPostInit(&htim2);

}

static void MX_GPIO_Init(void)
{
  GPIO_InitTypeDef GPIO_InitStruct = {0};

  /* GPIO Ports Clock Enable */
  __HAL_RCC_GPIOC_CLK_ENABLE();
  __HAL_RCC_GPIOH_CLK_ENABLE();
  __HAL_RCC_GPIOA_CLK_ENABLE();
  __HAL_RCC_GPIOB_CLK_ENABLE();

  /*Configure GPIO pin Output Level */
  HAL_GPIO_WritePin(LED_USER_GPIO_Port, LED_USER_Pin, GPIO_PIN_RESET);

  /*Configure GPIO pin Output Level */
  HAL_GPIO_WritePin(GPIOB, DIR_Pin|BUZZ_Pin, GPIO_PIN_RESET);

  /*Configure GPIO pin : LED_USER_Pin */
  GPIO_InitStruct.Pin = LED_USER_Pin;
  GPIO_InitStruct.Mode = GPIO_MODE_OUTPUT_PP;
  GPIO_InitStruct.Pull = GPIO_NOPULL;
  GPIO_InitStruct.Speed = GPIO_SPEED_FREQ_LOW;
  HAL_GPIO_Init(LED_USER_GPIO_Port, &GPIO_InitStruct);

  /*Configure GPIO pins : ES_L_Pin ES_R_Pin — endstops, falling only */
  GPIO_InitStruct.Pin = ES_L_Pin|ES_R_Pin;
  GPIO_InitStruct.Mode = GPIO_MODE_IT_FALLING;
  GPIO_InitStruct.Pull = GPIO_PULLUP;
  HAL_GPIO_Init(GPIOA, &GPIO_InitStruct);

  /*Configure GPIO pins : BUTT_JOGL_Pin BUTT_JOGR_Pin — jog, both edges */
  GPIO_InitStruct.Pin = BUTT_JOGL_Pin|BUTT_JOGR_Pin;
  GPIO_InitStruct.Mode = GPIO_MODE_IT_RISING_FALLING;
  GPIO_InitStruct.Pull = GPIO_PULLUP;
  HAL_GPIO_Init(GPIOA, &GPIO_InitStruct);

  /*Configure GPIO pins : BUTT_STEPL_Pin BUTT_STEPR_Pin */
  GPIO_InitStruct.Pin = BUTT_STEPL_Pin|BUTT_STEPR_Pin;
  GPIO_InitStruct.Mode = GPIO_MODE_IT_FALLING;
  GPIO_InitStruct.Pull = GPIO_PULLUP;
  HAL_GPIO_Init(GPIOB, &GPIO_InitStruct);

  /*Configure GPIO pins : DIR_Pin BUZZ_Pin */
  GPIO_InitStruct.Pin = DIR_Pin|BUZZ_Pin;
  GPIO_InitStruct.Mode = GPIO_MODE_OUTPUT_PP;
  GPIO_InitStruct.Pull = GPIO_NOPULL;
  GPIO_InitStruct.Speed = GPIO_SPEED_FREQ_LOW;
  HAL_GPIO_Init(GPIOB, &GPIO_InitStruct);

/* USER CODE BEGIN MX_GPIO_Init_2 */
  /* Enable EXTI interrupts for buttons and endstops */
  HAL_NVIC_SetPriority(EXTI0_IRQn, 2, 0);      /* BUTT_STEPL PB0 */
  HAL_NVIC_EnableIRQ(EXTI0_IRQn);
  HAL_NVIC_SetPriority(EXTI1_IRQn, 2, 0);      /* BUTT_STEPR PB1 */
  HAL_NVIC_EnableIRQ(EXTI1_IRQn);
  HAL_NVIC_SetPriority(EXTI3_IRQn, 1, 0);      /* ES_L PA3 */
  HAL_NVIC_EnableIRQ(EXTI3_IRQn);
  HAL_NVIC_SetPriority(EXTI4_IRQn, 1, 0);      /* ES_R PA4 */
  HAL_NVIC_EnableIRQ(EXTI4_IRQn);
  HAL_NVIC_SetPriority(EXTI9_5_IRQn, 2, 0);    /* BUTT_JOGL PA6, BUTT_JOGR PA7 */
  HAL_NVIC_EnableIRQ(EXTI9_5_IRQn);
/* USER CODE END MX_GPIO_Init_2 */
}

/* USER CODE BEGIN 4 */

/* ---- Button/endstop event flags (set in ISR, processed in main) ------- */
#define DEBOUNCE_MS  30

#define EVT_ES_L      (1U << 0)
#define EVT_ES_R      (1U << 1)
#define EVT_JOGL_DN   (1U << 2)
#define EVT_JOGL_UP   (1U << 3)
#define EVT_JOGR_DN   (1U << 4)
#define EVT_JOGR_UP   (1U << 5)
#define EVT_STEPL     (1U << 6)
#define EVT_STEPR     (1U << 7)

#define JOG_HOLD_MS   300

static volatile uint32_t evtFlags = 0;
static volatile uint32_t lastTick_jogL  = 0;
static volatile uint32_t lastTick_jogR  = 0;
static volatile uint32_t lastTick_stepL = 0;
static volatile uint32_t lastTick_stepR = 0;
static volatile uint32_t lastTick_esL   = 0;
static volatile uint32_t lastTick_esR   = 0;

/* Jog state machine */
typedef enum { JOG_IDLE, JOG_PRESSED, JOG_STEP, JOG_CONT } JogState;
static volatile JogState jogStateL = JOG_IDLE;
static volatile JogState jogStateR = JOG_IDLE;
static volatile uint32_t jogPressTickL = 0;
static volatile uint32_t jogPressTickR = 0;

void HAL_GPIO_EXTI_Callback(uint16_t GPIO_Pin)
{
    uint32_t now = HAL_GetTick();

    /* Beep on any EXTI event — GPIO write is ISR-safe */
    HAL_GPIO_WritePin(BUZZ_GPIO_Port, BUZZ_Pin, GPIO_PIN_RESET);
    buzzTick = now;
    buzzActive = 1;

    switch (GPIO_Pin)
    {
    /* ---- Endstops: immediate stop, debounce in diag mode ---- */
    case ES_L_Pin:
        if (!endstopsEn) break;
        if (!diagMode) { Stepper_Stop(); evtFlags |= EVT_ES_L; }
        else if (now - lastTick_esL >= DEBOUNCE_MS) {
            lastTick_esL = now;
            evtFlags |= EVT_ES_L;
        }
        break;

    case ES_R_Pin:
        if (!endstopsEn) break;
        if (!diagMode) { Stepper_Stop(); evtFlags |= EVT_ES_R; }
        else if (now - lastTick_esR >= DEBOUNCE_MS) {
            lastTick_esR = now;
            evtFlags |= EVT_ES_R;
        }
        break;

    /* ---- Jog buttons: both edges, debounce ---- */
    case BUTT_JOGL_Pin:
        if (!buttonsEn) break;
        if (now - lastTick_jogL >= DEBOUNCE_MS) {
            lastTick_jogL = now;
            if (!HAL_GPIO_ReadPin(BUTT_JOGL_GPIO_Port, BUTT_JOGL_Pin)) {
                jogPressTickL = now;
                evtFlags |= EVT_JOGL_DN;
            } else {
                evtFlags |= EVT_JOGL_UP;
            }
        }
        break;

    case BUTT_JOGR_Pin:
        if (!buttonsEn) break;
        if (now - lastTick_jogR >= DEBOUNCE_MS) {
            lastTick_jogR = now;
            if (!HAL_GPIO_ReadPin(BUTT_JOGR_GPIO_Port, BUTT_JOGR_Pin)) {
                jogPressTickR = now;
                evtFlags |= EVT_JOGR_DN;
            } else {
                evtFlags |= EVT_JOGR_UP;
            }
        }
        break;

    case BUTT_STEPL_Pin:
        if (!buttonsEn) break;
        if (now - lastTick_stepL >= DEBOUNCE_MS) {
            lastTick_stepL = now;
            evtFlags |= EVT_STEPL;
        }
        break;

    case BUTT_STEPR_Pin:
        if (!buttonsEn) break;
        if (now - lastTick_stepR >= DEBOUNCE_MS) {
            lastTick_stepR = now;
            evtFlags |= EVT_STEPR;
        }
        break;

    default:
        break;
    }
}

/* Homing: approach ES_L at homespd CCW, backoff at mmpsmin CW until release, +1mm */
void RunHome(void)
{
    float savedMax = motorParams.mmpsmax.f;
    float savedMin = motorParams.mmpsmin.f;

    /* Phase 1: approach ES_L at homespd (CCW), polling with debounce */
    printf("home: approach ES_L @ %.1f mm/s CCW\r\n", motorParams.homespd.f);
    endstopsEn = 0;  /* ignore EXTI — we poll manually to avoid EMI false triggers */
    buttonsEn = 0;
    motorParams.mmpsmax.f = motorParams.homespd.f;
    Stepper_Move(-9999.0f);  /* long CCW move */
    while (Stepper_IsBusy()) {
        /* debounced poll: ES_L must read LOW 10 times in a row (50ms) */
        uint8_t lowCount = 0;
        while (lowCount < 10 && Stepper_IsBusy()) {
            if (HAL_GPIO_ReadPin(ES_L_GPIO_Port, ES_L_Pin) == GPIO_PIN_RESET)
                lowCount++;
            else
                lowCount = 0;
            HAL_Delay(5);
        }
        if (lowCount >= 10) {
            Stepper_Stop();
            while (Stepper_IsBusy()) { HAL_Delay(10); }
            break;
        }
    }
    printf("home: ES_L confirmed, settling...\r\n");

    /* Phase 2: settle — wait for vibrations */
    HAL_Delay(500);

    /* Phase 3: backoff at homespd/10 (CW) until ES_L releases (debounced) */
    float backoffSpd = motorParams.homespd.f / 10.0f;
    if (backoffSpd < 0.1f) backoffSpd = 0.1f;
    printf("home: backoff @ %.2f mm/s CW\r\n", backoffSpd);
    motorParams.mmpsmax.f = backoffSpd;
    motorParams.mmpsmin.f = backoffSpd;  /* no ramp — constant slow speed */
    endstopsEn = 0;  /* don't let ES_L re-trigger during backoff */
    Stepper_Move(9999.0f);  /* long CW move */
    while (Stepper_IsBusy()) {
        /* debounced poll: ES_L must read HIGH 10 times in a row (50ms) */
        uint8_t highCount = 0;
        while (highCount < 10 && Stepper_IsBusy()) {
            if (HAL_GPIO_ReadPin(ES_L_GPIO_Port, ES_L_Pin) == GPIO_PIN_SET)
                highCount++;
            else
                highCount = 0;
            HAL_Delay(5);
        }
        if (highCount >= 10) {
            Stepper_Stop();
            while (Stepper_IsBusy()) { HAL_Delay(10); }
            break;
        }
    }
    printf("home: ES_L released, +%lu steps CW\r\n", motorParams.homeoff.u);

    /* Phase 4: move homeoff steps CW away from switch */
    HAL_Delay(200);
    Stepper_MoveSteps((int32_t)motorParams.homeoff.u);
    while (Stepper_IsBusy()) {
        HAL_GPIO_TogglePin(LED_USER_GPIO_Port, LED_USER_Pin);
        HAL_Delay(50);
    }

    /* Set home position */
    posSteps = 0;
    posHomed = 1;

    /* Restore speed and endstops */
    motorParams.mmpsmax.f = savedMax;
    motorParams.mmpsmin.f = savedMin;
    endstopsEn = 1;
    printf("home: done\r\n");
}

/* Combo test: 4 moves with wait between each */
void RunCombo(void)
{
    printf("combo: triangle L\r\n");
    Stepper_Move(-1.0f);
    while (Stepper_IsBusy()) { HAL_GPIO_TogglePin(LED_USER_GPIO_Port, LED_USER_Pin); HAL_Delay(100); }
    HAL_Delay(500);

    printf("combo: triangle R\r\n");
    Stepper_Move(1.0f);
    while (Stepper_IsBusy()) { HAL_GPIO_TogglePin(LED_USER_GPIO_Port, LED_USER_Pin); HAL_Delay(100); }
    HAL_Delay(500);

    printf("combo: trapezoid L\r\n");
    Stepper_Move(-5.0f);
    while (Stepper_IsBusy()) { HAL_GPIO_TogglePin(LED_USER_GPIO_Port, LED_USER_Pin); HAL_Delay(100); }
    HAL_Delay(500);

    printf("combo: trapezoid R\r\n");
    Stepper_Move(5.0f);
    while (Stepper_IsBusy()) { HAL_GPIO_TogglePin(LED_USER_GPIO_Port, LED_USER_Pin); HAL_Delay(100); }

    printf("combo done\r\n");
}

/* Called from main loop — safe to printf here */
void ProcessEvents(void)
{
    uint32_t now = HAL_GetTick();
    uint32_t flags = evtFlags;
    evtFlags &= ~flags;  /* clear only the flags we read */

    /* ---- Endstops ---- */
    if (flags & EVT_ES_L) {
        printf("ES_L hit\r\n"); PrintPrompt();
        jogStateL = JOG_IDLE;
        jogStateR = JOG_IDLE;
    }
    if (flags & EVT_ES_R) {
        printf("ES_R hit\r\n"); PrintPrompt();
        jogStateL = JOG_IDLE;
        jogStateR = JOG_IDLE;
    }

    /* ---- Jog Left ---- */
    if (flags & EVT_JOGL_DN) {
        if (diagMode) { printf("JOGL_DN\r\n"); PrintPrompt(); }
        else {
            jogStateL = JOG_PRESSED;
            Stepper_Jog(-1.0f);   /* immediate short jog */
        }
    }
    if (flags & EVT_JOGL_UP) {
        if (diagMode) { printf("JOGL_UP\r\n"); PrintPrompt(); }
        else if (jogStateL == JOG_CONT) {
            Stepper_Stop();
            printf("jog L stop\r\n"); PrintPrompt();
        }
        jogStateL = JOG_IDLE;
    }

    /* ---- Jog Right ---- */
    if (flags & EVT_JOGR_DN) {
        if (diagMode) { printf("JOGR_DN\r\n"); PrintPrompt(); }
        else {
            jogStateR = JOG_PRESSED;
            Stepper_Jog(1.0f);    /* immediate short jog */
        }
    }
    if (flags & EVT_JOGR_UP) {
        if (diagMode) { printf("JOGR_UP\r\n"); PrintPrompt(); }
        else if (jogStateR == JOG_CONT) {
            Stepper_Stop();
            printf("jog R stop\r\n"); PrintPrompt();
        }
        jogStateR = JOG_IDLE;
    }

    /* ---- Jog hold detection (polling, no event needed) ---- */
    if (!diagMode) {
        if (jogStateL == JOG_PRESSED && !Stepper_IsBusy()
            && (now - jogPressTickL >= JOG_HOLD_MS)) {
            jogStateL = JOG_CONT;
            Stepper_RunContinuous(-1);
        }
        if (jogStateR == JOG_PRESSED && !Stepper_IsBusy()
            && (now - jogPressTickR >= JOG_HOLD_MS)) {
            jogStateR = JOG_CONT;
            Stepper_RunContinuous(1);
        }
    }

    /* ---- Step buttons ---- */
    if (flags & EVT_STEPL) {
        if (diagMode) { printf("BUTT_STEPL\r\n"); PrintPrompt(); }
        else          Stepper_Move(-motorParams.stepmm.f);
    }
    if (flags & EVT_STEPR) {
        if (diagMode) { printf("BUTT_STEPR\r\n"); PrintPrompt(); }
        else          Stepper_Move(motorParams.stepmm.f);
    }
}

/* USER CODE END 4 */

void Error_Handler(void)
{
  /* USER CODE BEGIN Error_Handler_Debug */
  /* User can add his own implementation to report the HAL error return state */
  __disable_irq();
  while (1)
  {
    HAL_GPIO_WritePin(LED_USER_GPIO_Port, LED_USER_Pin, GPIO_PIN_RESET);
    HAL_Delay(50);
    HAL_GPIO_WritePin(LED_USER_GPIO_Port, LED_USER_Pin, GPIO_PIN_SET);
    HAL_Delay(50);
  }
  /* USER CODE END Error_Handler_Debug */
}
